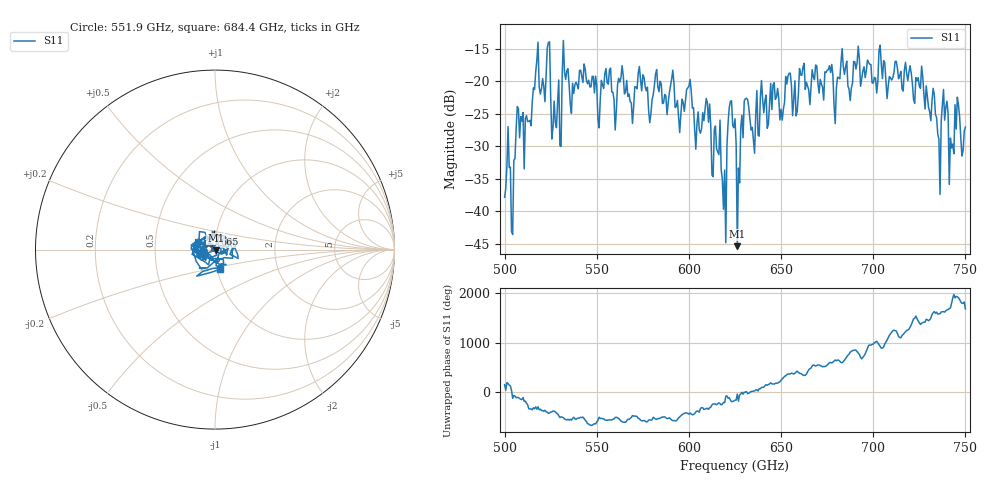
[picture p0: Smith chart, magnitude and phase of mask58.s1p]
!Created with skrf (http://scikit-rf.org).
# GHz S MA R 50.0
!freq magS11 angS11
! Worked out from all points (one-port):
!   401 points, 500 GHz to 750 GHz, reference 50 ohm
!   lowest |S11| = -45.4 dB at 626.2 GHz (marker M1), VSWR 1.01, Z = 50.4 - j0.309 ohm
!   |S11| at or under -10 dB: start of sweep to end of sweep
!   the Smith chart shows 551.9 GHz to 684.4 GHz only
!   S11 on the Smith chart (normalised r, x): 551.9 GHz: 0.87, -0.03; 665 GHz: 0.98, +0.17; 684.4 GHz: 1.03, -0.23
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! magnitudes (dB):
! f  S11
! 500 GHz  -37.8
! 504.4 GHz  -43.6
! 507.5 GHz  -24.2
! 511.9 GHz  -25.3
! 516.9 GHz  -18.5
! 523.8 GHz  -14.0
! 526.9 GHz  -23.0
! 531.2 GHz  -18.8
! 551.9 GHz  -22.9
! 562.5 GHz  -20.1
! 593.8 GHz  -22.9
! 610 GHz  -23.2
! 618.8 GHz  -39.7
! 621.9 GHz  -24.0
! 625 GHz  -25.8
! 626.2 GHz  -45.4
! 631.2 GHz  -22.6
! 634.4 GHz  -27.1
! 656.2 GHz  -25.3
! 665 GHz  -21.3
! 684.4 GHz  -18.9
! 687.5 GHz  -22.9
! 718.8 GHz  -19.9
! 735.6 GHz  -28.9
! 738.8 GHz  -26.0
! 742.5 GHz  -30.3
! 745.6 GHz  -22.4
! 750 GHz  -27.0
